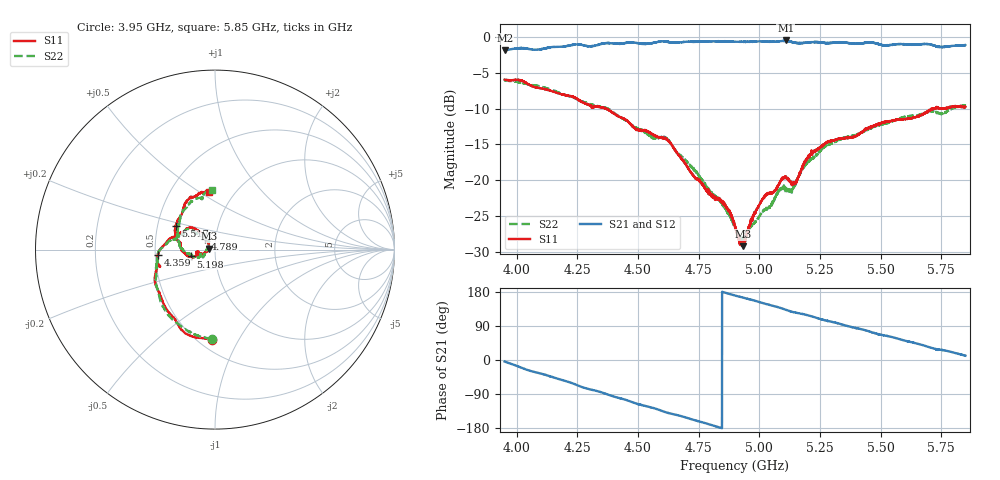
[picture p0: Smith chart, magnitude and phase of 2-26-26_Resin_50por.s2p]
# GHZ S RI R 50.000000000000
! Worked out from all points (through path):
!   4501 points, 3.95 GHz to 5.85 GHz, reference 50 ohm
!   highest |S21| = -0.52 dB at 5.109 GHz (marker M1); lowest = -1.9 dB at 3.951 GHz (marker M2)
!   group delay of S21, straight-line fit = 501 ps
!   lowest |S11| = -29.2 dB at 4.932 GHz (marker M3), VSWR 1.07, Z = 46.7 + j0.537 ohm
!   |S11| at or under -10 dB: 4.367 GHz to 5.718 GHz (1.351 GHz wide, 26.8 % of centre); 5.746623 GHz to 5.750291 GHz (3.668 MHz wide, 0.0638 % of centre); 5.752343 GHz to 5.754502 GHz (2.159 MHz wide, 0.0375 % of centre)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
!   |S22| runs from -28.3 to -6.0 dB; largest |S21 - S12| = 0.047
!   S11 on the Smith chart (normalised r, x): 3.95 GHz: 0.58, -0.78; 4.359 GHz: 0.52, -0.03; 4.789 GHz: 0.89, +0.11; 5.198 GHz: 0.76, -0.06; 5.517 GHz: 0.62, +0.17; 5.85 GHz: 0.76, +0.55
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3.95  -0.0189 -0.5027  0.8048 -0.0579  0.7903 -0.0527  -0.0163 -0.4992
3.951267  -0.0257 -0.5009  0.8027 -0.0611  0.7898 -0.0537  -0.0211 -0.4979
4.024311  -0.1712 -0.4606  0.7736 -0.3062  0.7908 -0.2869  -0.1545 -0.4502
4.139156  -0.2816 -0.3127  0.6155 -0.5797  0.6116 -0.5682  -0.2891 -0.3174
4.267089  -0.3296 -0.1267  0.2871 -0.8299  0.2974 -0.8379  -0.328 -0.1363
4.359133  -0.3188 -0.0289  0.0416 -0.8983  0.0558 -0.883  -0.3202 -0.0317
4.462578  -0.2444 0.0655  -0.2805 -0.8664  -0.2756 -0.8805  -0.2464 0.0528
4.583756  -0.1723 0.0994  -0.6023 -0.6982  -0.5807 -0.7104  -0.1759 0.0885
4.788533  -0.0543 0.0611  -0.9088 -0.1799  -0.9057 -0.195  -0.0574 0.0674
4.854822  -0.0434 0.0539  -0.9298 0.0287  -0.9289 0.00908  -0.0397 0.055
4.9  -0.0333 0.0336  -0.91 0.1582  -0.9151 0.1423  -0.0319 0.0351
4.932089  -0.0343 0.00574  -0.8901 0.241  -0.8922 0.2277  -0.0369 0.0127
5.014844  -0.0701 -0.0247  -0.8029 0.4618  -0.8088 0.4421  -0.0578 -0.0194
5.109  -0.1022 -0.0169  -0.6349 0.6964  -0.6505 0.674  -0.0794 -0.0228
5.147844  -0.092 -0.0217  -0.5215 0.7409  -0.5388 0.7356  -0.0835 -0.0406
5.197667  -0.1365 -0.0378  -0.4357 0.8004  -0.4486 0.7916  -0.1307 -0.0306
5.217089  -0.152 -0.0355  -0.3866 0.8325  -0.4019 0.8191  -0.1372 -0.0259
5.342489  -0.1952 0.027  -0.0595 0.912  -0.0635 0.9139  -0.1953 0.0182
5.517289  -0.2193 0.1303  0.3711 0.7876  0.3571 0.8011  -0.1987 0.1484
5.533756  -0.2154 0.1399  0.4025 0.7737  0.3864 0.785  -0.1958 0.1589
5.696733  -0.1699 0.2517  0.7304 0.5045  0.7148 0.5257  -0.128 0.2732
5.85  -0.0321 0.3231  0.8572 0.1731  0.8476 0.1965  -0.0175 0.3328
